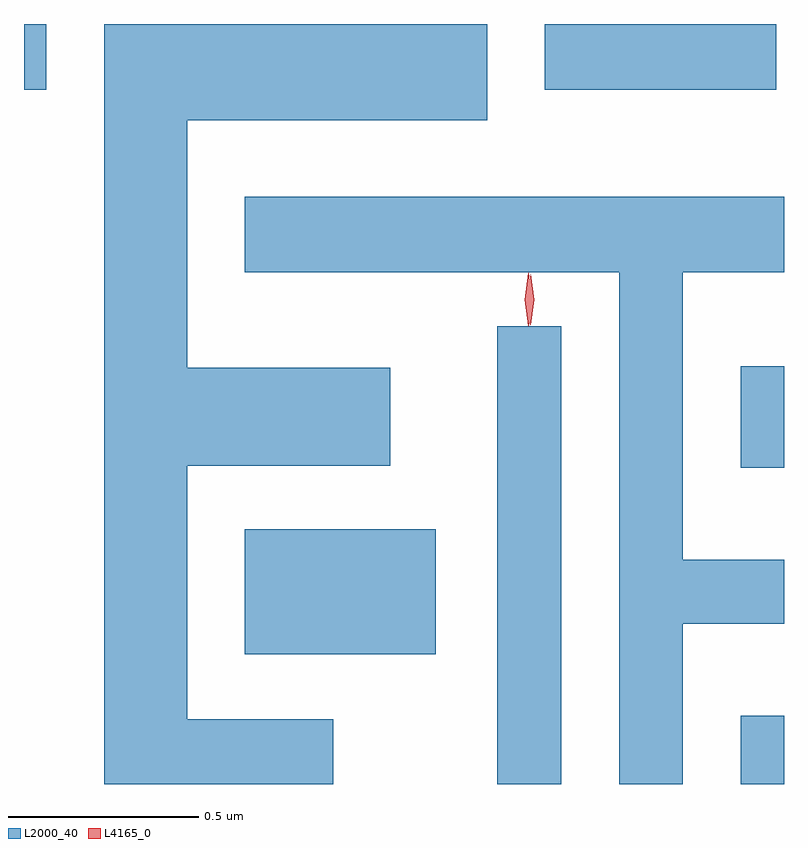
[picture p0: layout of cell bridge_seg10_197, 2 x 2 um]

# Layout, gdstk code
import gdstk
lib = gdstk.Library(unit=1e-6, precision=1e-09)
def R(c, l, rs):  # rectangles x0, y0, x1, y1
    for r in rs: c.add(gdstk.rectangle(r[:2], r[2:], *l))
def P(c, l, *ps):  # polygons
    for p in ps: c.add(gdstk.Polygon(p, *l))
L2000_40 = (2000, 40)
L4165_0 = (4165, 0)

bridge_seg10_197 = lib.new_cell('bridge_seg10_197')
R(bridge_seg10_197, L2000_40, [(1864.271,2140.969,1864.439,2142.173), (1864.911,2140.969,1865.025,2141.149), (1863.606,2141.311,1864.109,2141.639), (1864.911,2141.801,1865.025,2142.069), (1863.025,2142.796,1863.084,2142.969), (1864.396,2142.796,1865.004,2142.969)])
P(bridge_seg10_197, L2000_40, [(1863.839,2141.139),(1863.454,2141.139),(1863.454,2141.806),(1863.989,2141.806),(1863.989,2142.064),(1863.454,2142.064),(1863.454,2142.716),(1864.244,2142.716),(1864.244,2142.969),(1863.236,2142.969),(1863.236,2140.969),(1863.839,2140.969)],
  [(1864.759,2141.391),(1865.025,2141.391),(1865.025,2141.559),(1864.759,2141.559),(1864.759,2142.316),(1865.025,2142.316),(1865.025,2142.514),(1863.606,2142.514),(1863.606,2142.316),(1864.591,2142.316),(1864.591,2140.969),(1864.759,2140.969)])
P(bridge_seg10_197, L4165_0, [(1864.353,2142.174),(1864.352,2142.175),(1864.343,2142.244),(1864.352,2142.313),(1864.353,2142.314),(1864.353,2142.313),(1864.363,2142.244),(1864.353,2142.175)],
  [(1864.357,2142.178),(1864.348,2142.244),(1864.358,2142.31),(1864.358,2142.311),(1864.359,2142.31),(1864.368,2142.244),(1864.358,2142.178),(1864.358,2142.178)])

lib.write_gds('bridge_seg10_197.gds')
